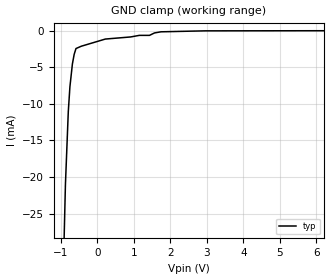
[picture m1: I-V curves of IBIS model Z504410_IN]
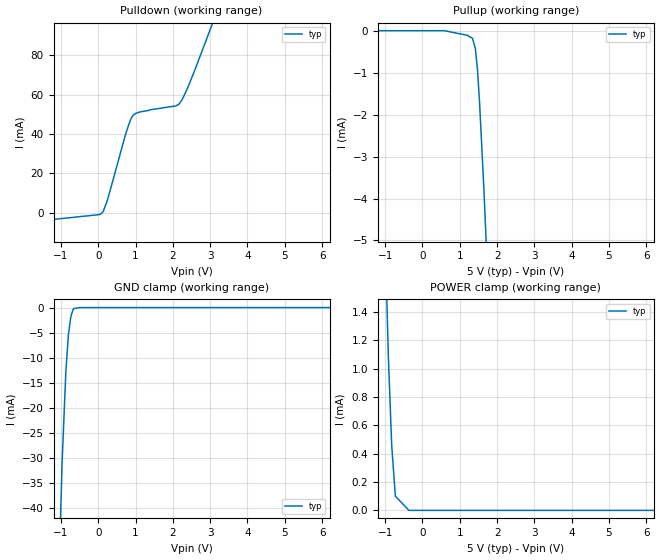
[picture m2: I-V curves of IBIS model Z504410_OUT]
| YOU ARE ONLY AUTHORIZED TO USE THIS SOFTWARE
| ACCORDING TO LICENSOR'S LICENSE RESTRICTIONS.
[IBIS Ver] 3.1
[File Name] sn54ls196j.ibs
[File Rev] 2.0
[Source] Measured and created by ICX Technology
[Date] Friday 7/14/00 9:08:14 AM
[Copyright]
| (C) COPYRIGHT 1993-2000
| MENTOR GRAPHICS CORPORATION
| ICX STANDARD LIBRARY, ICX PROJECT MODELING,
| ICX CUSTOM MODELING, ICX VENDOR MODEL
| ALL RIGHTS RESERVED.
| THE FOLLOWING ARE TRADEMARKS OR SERVICE MARKS OF
| MENTOR GRAPHICS CORPORATION:ICX (R), ICX STANDARD
| LIBRARY(R), ICX PROJECT MODELING(R), ICX CUSTOM
| MODELING(R), qualityIBIS(TM), MODELVIEWER(TM),
| AND MODELEDITOR(TM)
| ALL COPIES OF SOFTWARE, INCLUDING BUT NOT LIMITED TO
| ANY MODIFICATIONS, ENHANCEMENTS OR DERIVATIVE WORKS,
| MUST CONTAIN ALL MENTOR GRAPHICS CORPORATION'S
| NOTICES AND LEGENDS, INCLUDING THOSE EMBEDDED IN
| SOFTWARE AND THOSE AFFIXED TO SOFTWARE MEDIUM
| AND CONTAINER, AS RECEIVED FROM MENTOR GRAPHICS
| CORPORATION.
|  ZAP Model Builder 2.7
[Component] SN54LS196J
[Manufacturer] OnSemiconductor
[Package]
| variable   typ   min   max
R_pkg  .21ohms NA NA
L_pkg  4.543nH NA NA
C_pkg  1.8pF NA NA
[Pin] signal_name  model_name  R_pin  L_pin C_pin
1 _LOAD Z504410_IN .22 6.757n 2.434p
2 QC Z504410_OUT .212 4.757n 1.941p
3 C Z504410_IN .204 3.257n 1.448p
4 A Z504410_IN .196 2.257n .955p
5 QA Z504410_OUT .204 3.257n 1.448p
6 CLK2 Z504410_IN .212 4.757n 1.941p
7 GND GND .22 6.757n 2.434p
8 CLK1 Z504410_IN .22 6.757n 2.434p
9 QB Z504410_OUT .212 4.757n 1.941p
10 B Z504410_IN .204 3.257n 1.448p
11 D Z504410_IN .196 2.257n .955p
12 QD Z504410_OUT .204 3.257n 1.448p
13 _CLR Z504410_IN .212 4.757n 1.941p
14 VCC POWER .22 6.757n 2.434p
| Models and submodels in the file (2): Z504410_IN (Input), Z504410_OUT (Output)
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| (C) COPYRIGHT 1993-2000
| MENTOR GRAPHICS CORPORATION
| ICX STANDARD LIBRARY, ICX PROJECT MODELING,
| ICX CUSTOM MODELING, ICX VENDOR MODEL
| ALL RIGHTS RESERVED.
| THE FOLLOWING ARE TRADEMARKS OR SERVICE MARKS OF
| MENTOR GRAPHICS CORPORATION:ICX (R), ICX STANDARD
| LIBRARY(R), ICX PROJECT MODELING(R), ICX CUSTOM
| MODELING(R), qualityIBIS(TM), MODELVIEWER(TM),
| AND MODELEDITOR(TM)
| ALL COPIES OF SOFTWARE, INCLUDING BUT NOT LIMITED TO
| ANY MODIFICATIONS, ENHANCEMENTS OR DERIVATIVE WORKS,
| MUST CONTAIN ALL MENTOR GRAPHICS CORPORATION'S
| NOTICES AND LEGENDS, INCLUDING THOSE EMBEDDED IN
| SOFTWARE AND THOSE AFFIXED TO SOFTWARE MEDIUM
| AND CONTAINER, AS RECEIVED FROM MENTOR GRAPHICS
| CORPORATION.
| Model Application Version 1.89 2/18/99.
[Model] Z504410_IN
Model_type Input
Vinl = 800.0mV
Vinh = 2.000V
C_comp 4.000pF NA NA
| variable typ   min   max
[Voltage Range] 5.000V NA NA
[GND Clamp Reference] 0.000V NA NA
[POWER Clamp Reference] 5.000V NA NA
[GND Clamp]
-5V       -869.5mA   NA         NA
-873.9mV  -21.01mA   NA         NA
-795.3mV  -11.03mA   NA         NA
-751mV    -7.659mA   NA         NA
-683.6mV  -4.56mA    NA         NA
-634.4mV  -3.228mA   NA         NA
-585.4mV  -2.441mA   NA         NA
-439mV    -2.121mA   NA         NA
219.9mV   -1.142mA   NA         NA
1.428V    -637.7uA   NA         NA
1.743V    -152.6uA   NA         NA
10V       16.71uA    NA         NA
[POWER Clamp]
-5V       0A         NA         NA
10V       0A         NA         NA
| (C) COPYRIGHT 1993-2000
| MENTOR GRAPHICS CORPORATION
| ICX STANDARD LIBRARY, ICX PROJECT MODELING,
| ICX CUSTOM MODELING, ICX VENDOR MODEL
| ALL RIGHTS RESERVED.
| THE FOLLOWING ARE TRADEMARKS OR SERVICE MARKS OF
| MENTOR GRAPHICS CORPORATION:ICX (R), ICX STANDARD
| LIBRARY(R), ICX PROJECT MODELING(R), ICX CUSTOM
| MODELING(R), qualityIBIS(TM), MODELVIEWER(TM),
| AND MODELEDITOR(TM)
| ALL COPIES OF SOFTWARE, INCLUDING BUT NOT LIMITED TO
| ANY MODIFICATIONS, ENHANCEMENTS OR DERIVATIVE WORKS,
| MUST CONTAIN ALL MENTOR GRAPHICS CORPORATION'S
| NOTICES AND LEGENDS, INCLUDING THOSE EMBEDDED IN
| SOFTWARE AND THOSE AFFIXED TO SOFTWARE MEDIUM
| AND CONTAINER, AS RECEIVED FROM MENTOR GRAPHICS
| CORPORATION.
| Model Application Version 1.89 2/18/99.
[Model] Z504410_OUT
Model_type Output
Vref=5.000V
Rref=2.000kohms
Cref=15.00pF
Vmeas=1.300V
C_comp 8.000pF NA NA
| variable typ   min   max
[Voltage Range] 5.000V NA NA
[POWER Clamp Reference] 5.000V NA NA
[Pullup Reference] 5.000V NA NA
[Pulldown Reference] 0.000V NA NA
[GND Clamp Reference] 0.000V NA NA
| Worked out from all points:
|   slope of the pulldown table from 0 to 0.75 V, typ, clamps not added: 17.9 ohm
|   slope of the pullup table from 0 to 0.75 V, typ, clamps not added: 25.3 kohm
|   GND clamp passes 1 mA (typ) near -0.70 V on its own axis
|   POWER clamp passes 1 mA (typ) near -0.90 V on its own axis
[GND Clamp]
-5V       -1.391A    NA         NA
-1.079V   -60mA      NA         NA
-971.2mV  -31.12mA   NA         NA
-869.1mV  -12.72mA   NA         NA
-799.9mV  -5.307mA   NA         NA
-743.1mV  -2.224mA   NA         NA
-725.7mV  -1.5mA     NA         NA
-663.9mV  -211uA     NA         NA
-497.9mV  0A         NA         NA
10V       0A         NA         NA
[Pulldown]
-5V       -11.04mA   NA         NA
68.47mV   -767.5uA   NA         NA
131.8mV   583.6uA    NA         NA
242.3mV   6.1mA      NA         NA
743mV     40.54mA    NA         NA
891.5mV   48.31mA    NA         NA
1.011V    50.52mA    NA         NA
1.133V    51.22mA    NA         NA
2.165V    55.17mA    NA         NA
2.377V    62.54mA    NA         NA
2.567V    71.44mA    NA         NA
10V       442mA      NA         NA
[Pullup]
-5V       13.47uA    NA         NA
586mV     13.47uA    NA         NA
1.202V    -97.9uA    NA         NA
1.343V    -171uA     NA         NA
1.419V    -419.6uA   NA         NA
1.474V    -908.9uA   NA         NA
1.528V    -1.666mA   NA         NA
1.644V    -3.72mA    NA         NA
10V       -176.1mA   NA         NA
[POWER Clamp]
-5V       48.13mA    NA         NA
-1.099V   2.919mA    NA         NA
-917mV    1.101mA    NA         NA
-825mV    458.1uA    NA         NA
-727mV    100.4uA    NA         NA
-363.5mV  0A         NA         NA
10V       0A         NA         NA
[Ramp]
| variable typ min max
dV/dt_r 1.877/10.08n NA NA
dV/dt_f 1.877/1.765n NA NA
R_load = 500.0Ohms
